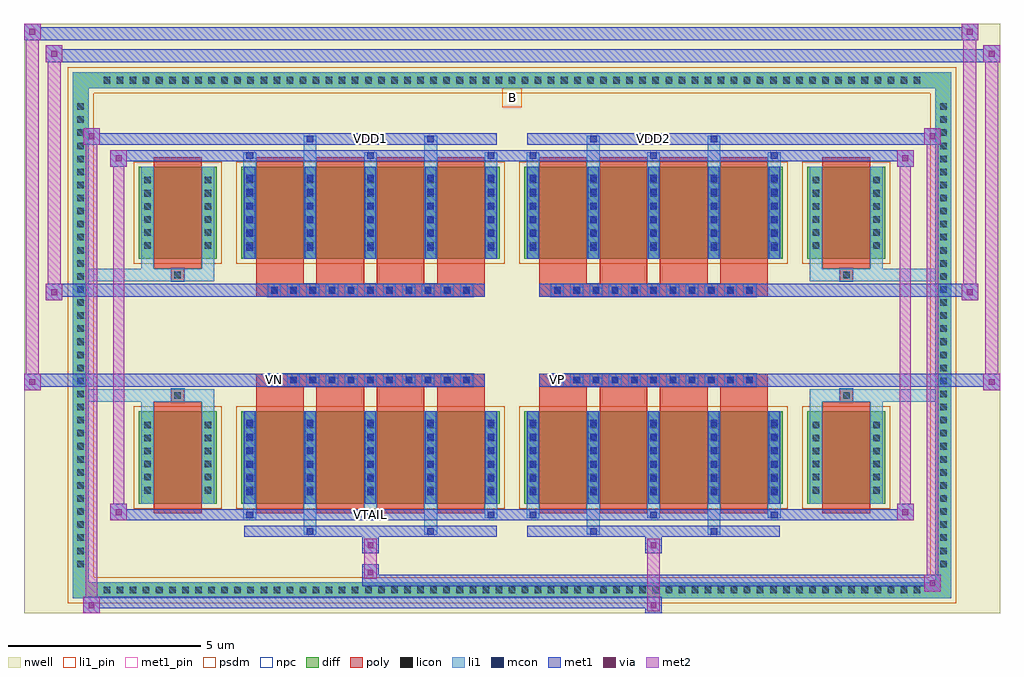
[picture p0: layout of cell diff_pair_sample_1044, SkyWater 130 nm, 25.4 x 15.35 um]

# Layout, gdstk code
import gdstk
lib = gdstk.Library(unit=1e-6, precision=5e-09)
def R(c, l, rs):  # rectangles x0, y0, x1, y1
    for r in rs: c.add(gdstk.rectangle(r[:2], r[2:], *l))
def A(c, l, x, y, w, h, nx, ny, dx, dy):  # array of equal rectangles
    R(c, l, [(x+i*dx, y+j*dy, x+i*dx+w, y+j*dy+h) for i in range(nx) for j in range(ny)])
def P(c, l, *ps):  # polygons
    for p in ps: c.add(gdstk.Polygon(p, *l))
nwell = (64, 20)
diff = (65, 20)
poly = (66, 20)
licon = (66, 44)
li1_pin = (67, 16)
li1 = (67, 20)
mcon = (67, 44)
met1_pin = (68, 16)
met1 = (68, 20)
via = (68, 44)
met2 = (69, 20)
psdm = (94, 20)
npc = (95, 20)

diff_pair_sample_1044 = lib.new_cell('diff_pair_sample_1044')
R(diff_pair_sample_1044, nwell, [(-12.7,-7.24,12.7,8.11), (-10.02,-5.43,-0.01,-0.805), (0.01,-5.43,10.02,-0.805), (-10.02,0.805,-0.01,5.43), (0.01,0.805,10.02,5.43)])
A(diff_pair_sample_1044, diff, -10.745, -6.84, 0.41, 0.41, 63, 2, 0.34, 13.27)
A(diff_pair_sample_1044, diff, -11.43, -6.155, 0.41, 0.41, 1, 36, 0, 0.34)
A(diff_pair_sample_1044, diff, 11.02, -6.155, 0.41, 0.41, 1, 36, 0, 0.34)
R(diff_pair_sample_1044, diff, [(-10.745,-6.84,10.745,-6.43), (-11.43,-6.155,-11.02,6.155), (11.02,-6.155,11.43,6.155), (-9.71,-4.385,-7.69,-1.985), (-7.05,-4.385,-0.32,-1.985), (0.32,-4.385,7.05,-1.985), (7.69,-4.385,9.71,-1.985), (-9.71,1.985,-7.69,4.385), (-7.05,1.985,-0.32,4.385), (0.32,1.985,7.05,4.385), (7.69,1.985,9.71,4.385), (-10.745,6.43,10.745,6.84)])
P(diff_pair_sample_1044, diff, [(11.43,6.84),(-11.43,6.84),(-11.43,-6.43),(-11.02,-6.43),(-11.02,6.43),(11.02,6.43),(11.02,-6.43),(-11.02,-6.43),(-11.43,-6.43),(-11.43,-6.84),(11.43,-6.84)])
A(diff_pair_sample_1044, poly, -6.66, -4.635, 1.24, 2.9, 4, 2, 1.57, 6.37)
A(diff_pair_sample_1044, poly, 0.71, -4.635, 1.24, 2.9, 4, 2, 1.57, 6.37)
A(diff_pair_sample_1044, poly, -6.66, -1.735, 1.24, 0.4, 4, 2, 1.57, 3.07)
A(diff_pair_sample_1044, poly, 0.71, -1.735, 1.24, 0.4, 4, 2, 1.57, 3.07)
A(diff_pair_sample_1044, poly, -6.35, -1.335, 0.33, 0.33, 11, 2, 0.5, 2.34)
A(diff_pair_sample_1044, poly, 1.02, -1.335, 0.33, 0.33, 11, 2, 0.5, 2.34)
R(diff_pair_sample_1044, poly, [(-9.32,-4.635,-8.08,-1.735), (8.08,-4.635,9.32,-1.735), (-8.865,-1.735,-8.535,-1.405), (-8.865,-1.735,-8.535,-1.405), (8.535,-1.735,8.865,-1.405), (8.535,-1.735,8.865,-1.405), (-6.66,-1.335,-0.71,-1.005), (0.71,-1.335,6.66,-1.005), (-6.66,1.005,-0.71,1.335), (0.71,1.005,6.66,1.335), (-8.865,1.405,-8.535,1.735), (-8.865,1.405,-8.535,1.735), (8.535,1.405,8.865,1.735), (8.535,1.405,8.865,1.735), (-9.32,1.735,-8.08,4.635), (8.08,1.735,9.32,4.635)])
A(diff_pair_sample_1044, licon, -10.625, -6.72, 0.17, 0.17, 63, 2, 0.34, 13.27)
A(diff_pair_sample_1044, licon, -11.31, -6.035, 0.17, 0.17, 1, 36, 0, 0.34)
A(diff_pair_sample_1044, licon, 11.14, -6.035, 0.17, 0.17, 1, 36, 0, 0.34)
A(diff_pair_sample_1044, licon, -9.57, -4.12, 0.17, 0.17, 1, 6, 0, 0.34)
A(diff_pair_sample_1044, licon, -8, -4.12, 0.17, 0.17, 1, 6, 0, 0.34)
A(diff_pair_sample_1044, licon, -6.91, -4.12, 0.17, 0.17, 5, 6, 1.57, 0.34)
A(diff_pair_sample_1044, licon, 0.46, -4.12, 0.17, 0.17, 5, 6, 1.57, 0.34)
A(diff_pair_sample_1044, licon, 7.83, -4.12, 0.17, 0.17, 1, 6, 0, 0.34)
A(diff_pair_sample_1044, licon, 9.4, -4.12, 0.17, 0.17, 1, 6, 0, 0.34)
A(diff_pair_sample_1044, licon, -6.27, -1.255, 0.17, 0.17, 11, 2, 0.5, 2.34)
A(diff_pair_sample_1044, licon, 1.1, -1.255, 0.17, 0.17, 11, 2, 0.5, 2.34)
A(diff_pair_sample_1044, licon, -9.57, 2.25, 0.17, 0.17, 1, 6, 0, 0.34)
A(diff_pair_sample_1044, licon, -8, 2.25, 0.17, 0.17, 1, 6, 0, 0.34)
A(diff_pair_sample_1044, licon, -6.91, 2.25, 0.17, 0.17, 5, 6, 1.57, 0.34)
A(diff_pair_sample_1044, licon, 0.46, 2.25, 0.17, 0.17, 5, 6, 1.57, 0.34)
A(diff_pair_sample_1044, licon, 7.83, 2.25, 0.17, 0.17, 1, 6, 0, 0.34)
A(diff_pair_sample_1044, licon, 9.4, 2.25, 0.17, 0.17, 1, 6, 0, 0.34)
R(diff_pair_sample_1044, licon, [(-8.785,-1.655,-8.615,-1.485), (8.615,-1.655,8.785,-1.485), (-8.785,1.485,-8.615,1.655), (8.615,1.485,8.785,1.655)])
R(diff_pair_sample_1044, li1_pin, [(-0.25,5.93,0.25,6.43)])
A(diff_pair_sample_1044, li1, -10.705, -6.8, 0.33, 0.33, 63, 2, 0.34, 13.27)
A(diff_pair_sample_1044, li1, -11.39, -6.115, 0.33, 0.33, 1, 36, 0, 0.34)
A(diff_pair_sample_1044, li1, 11.06, -6.115, 0.33, 0.33, 1, 36, 0, 0.34)
A(diff_pair_sample_1044, li1, -6.99, -4.76, 0.33, 0.375, 3, 2, 3.14, 9.145)
A(diff_pair_sample_1044, li1, -6.91, -4.76, 0.17, 0.17, 3, 2, 3.14, 9.35)
A(diff_pair_sample_1044, li1, 0.38, -4.76, 0.33, 0.375, 3, 2, 3.14, 9.145)
A(diff_pair_sample_1044, li1, 0.46, -4.76, 0.17, 0.17, 3, 2, 3.14, 9.35)
A(diff_pair_sample_1044, li1, -6.99, -4.385, 0.33, 2.4, 5, 2, 1.57, 6.37)
A(diff_pair_sample_1044, li1, 0.38, -4.385, 0.33, 2.4, 5, 2, 1.57, 6.37)
A(diff_pair_sample_1044, li1, -9.65, -4.2, 0.33, 0.33, 1, 6, 0, 0.34)
A(diff_pair_sample_1044, li1, -8.08, -4.2, 0.33, 0.33, 1, 6, 0, 0.34)
A(diff_pair_sample_1044, li1, -6.99, -4.2, 0.33, 0.33, 5, 6, 1.57, 0.34)
A(diff_pair_sample_1044, li1, 0.38, -4.2, 0.33, 0.33, 5, 6, 1.57, 0.34)
A(diff_pair_sample_1044, li1, 7.75, -4.2, 0.33, 0.33, 1, 6, 0, 0.34)
A(diff_pair_sample_1044, li1, 9.32, -4.2, 0.33, 0.33, 1, 6, 0, 0.34)
A(diff_pair_sample_1044, li1, -6.91, -4.17, 0.17, 0.17, 5, 6, 1.57, 0.36)
A(diff_pair_sample_1044, li1, -6.91, -4.17, 0.17, 1.97, 5, 2, 1.57, 6.37)
A(diff_pair_sample_1044, li1, 0.46, -4.17, 0.17, 0.17, 5, 6, 1.57, 0.36)
A(diff_pair_sample_1044, li1, 0.46, -4.17, 0.17, 1.97, 5, 2, 1.57, 6.37)
A(diff_pair_sample_1044, li1, -6.35, -1.335, 0.33, 0.33, 11, 2, 0.5, 2.34)
A(diff_pair_sample_1044, li1, 1.02, -1.335, 0.33, 0.33, 11, 2, 0.5, 2.34)
A(diff_pair_sample_1044, li1, -9.65, 2.17, 0.33, 0.33, 1, 6, 0, 0.34)
A(diff_pair_sample_1044, li1, -8.08, 2.17, 0.33, 0.33, 1, 6, 0, 0.34)
A(diff_pair_sample_1044, li1, -6.99, 2.17, 0.33, 0.33, 5, 6, 1.57, 0.34)
A(diff_pair_sample_1044, li1, 0.38, 2.17, 0.33, 0.33, 5, 6, 1.57, 0.34)
A(diff_pair_sample_1044, li1, 7.75, 2.17, 0.33, 0.33, 1, 6, 0, 0.34)
A(diff_pair_sample_1044, li1, 9.32, 2.17, 0.33, 0.33, 1, 6, 0, 0.34)
A(diff_pair_sample_1044, li1, -6.91, 2.2, 0.17, 0.17, 5, 6, 1.57, 0.36)
A(diff_pair_sample_1044, li1, 0.46, 2.2, 0.17, 0.17, 5, 6, 1.57, 0.36)
R(diff_pair_sample_1044, li1, [(-11.43,-6.84,-11.02,-6.43), (-11.43,-6.84,-11.02,-6.43), (-11.02,-6.84,11.02,-6.43), (11.02,-6.84,11.43,-6.43), (11.02,-6.84,11.43,-6.43), (-11.43,-6.43,-11.02,6.43), (11.02,-6.43,11.43,6.43), (-5.42,-5.19,-5.09,-4.385), (-5.34,-5.19,-5.17,-5.02), (-2.28,-5.19,-1.95,-4.385), (-2.2,-5.19,-2.03,-5.02), (1.95,-5.19,2.28,-4.385), (2.03,-5.19,2.2,-5.02), (5.09,-5.19,5.42,-4.385), (5.17,-5.19,5.34,-5.02), (-9.65,-4.385,-9.32,-1.985), (-8.08,-4.385,-7.75,-1.985), (7.75,-4.385,8.08,-1.985), (9.32,-4.385,9.65,-1.985), (-9.65,-1.985,-9.32,-1.405), (-8.08,-1.985,-7.75,-1.405), (7.75,-1.985,8.08,-1.405), (9.32,-1.985,9.65,-1.405), (-11.43,-1.735,-8.865,-1.405), (-9.65,-1.735,-8.865,-1.405), (-8.865,-1.735,-8.535,-1.405), (-8.535,-1.735,-7.75,-1.405), (7.75,-1.735,8.535,-1.405), (8.535,-1.735,8.865,-1.405), (8.535,-1.735,11.43,-1.405), (8.865,-1.735,9.65,-1.405), (-11.43,1.405,-8.865,1.735), (-9.65,1.405,-8.865,1.735), (-9.65,1.405,-9.32,1.985), (-8.865,1.405,-8.535,1.735), (-8.535,1.405,-7.75,1.735), (-8.08,1.405,-7.75,1.985), (7.75,1.405,8.535,1.735), (7.75,1.405,8.08,1.985), (8.535,1.405,8.865,1.735), (8.535,1.405,11.43,1.735), (8.865,1.405,9.65,1.735), (9.32,1.405,9.65,1.985), (-9.65,1.985,-9.32,4.385), (-8.08,1.985,-7.75,4.385), (7.75,1.985,8.08,4.385), (9.32,1.985,9.65,4.385), (-5.42,4.385,-5.09,5.19), (-2.28,4.385,-1.95,5.19), (1.95,4.385,2.28,5.19), (5.09,4.385,5.42,5.19), (-5.34,5.02,-5.17,5.19), (-2.2,5.02,-2.03,5.19), (2.03,5.02,2.2,5.19), (5.17,5.02,5.34,5.19), (-11.43,6.43,-11.02,6.84), (-11.43,6.43,-11.02,6.84), (-11.02,6.43,11.02,6.84), (11.02,6.43,11.43,6.84), (11.02,6.43,11.43,6.84)])
A(diff_pair_sample_1044, mcon, -6.91, -4.76, 0.17, 0.17, 3, 2, 3.14, 9.35)
A(diff_pair_sample_1044, mcon, 0.46, -4.76, 0.17, 0.17, 3, 2, 3.14, 9.35)
A(diff_pair_sample_1044, mcon, -6.91, -4.17, 0.17, 0.17, 5, 6, 1.57, 0.36)
A(diff_pair_sample_1044, mcon, 0.46, -4.17, 0.17, 0.17, 5, 6, 1.57, 0.36)
A(diff_pair_sample_1044, mcon, -6.27, -1.255, 0.17, 0.17, 11, 2, 0.5, 2.34)
A(diff_pair_sample_1044, mcon, 1.1, -1.255, 0.17, 0.17, 11, 2, 0.5, 2.34)
A(diff_pair_sample_1044, mcon, -6.91, 2.2, 0.17, 0.17, 5, 6, 1.57, 0.36)
A(diff_pair_sample_1044, mcon, 0.46, 2.2, 0.17, 0.17, 5, 6, 1.57, 0.36)
R(diff_pair_sample_1044, mcon, [(-5.34,-5.19,-5.17,-5.02), (-2.2,-5.19,-2.03,-5.02), (2.03,-5.19,2.2,-5.02), (5.17,-5.19,5.34,-5.02), (-5.34,5.02,-5.17,5.19), (-2.2,5.02,-2.03,5.19), (2.03,5.02,2.2,5.19), (5.17,5.02,5.34,5.19)])
R(diff_pair_sample_1044, met1_pin, [(-3.82,-4.8,-3.55,-4.53), (-6.32,-1.295,-6.05,-1.025), (1.05,-1.295,1.32,-1.025), (-3.82,4.98,-3.55,5.25), (3.55,4.98,3.82,5.25)])
A(diff_pair_sample_1044, met1, -6.97, -4.82, 0.29, 0.29, 3, 2, 3.14, 9.35)
A(diff_pair_sample_1044, met1, 0.4, -4.82, 0.29, 0.29, 3, 2, 3.14, 9.35)
A(diff_pair_sample_1044, met1, -6.97, -4.385, 0.29, 2.4, 5, 2, 1.57, 6.37)
A(diff_pair_sample_1044, met1, 0.4, -4.385, 0.29, 2.4, 5, 2, 1.57, 6.37)
A(diff_pair_sample_1044, met1, -6.97, -4.23, 0.29, 0.29, 5, 6, 1.57, 0.36)
A(diff_pair_sample_1044, met1, 0.4, -4.23, 0.29, 0.29, 5, 6, 1.57, 0.36)
A(diff_pair_sample_1044, met1, -6.33, -1.315, 0.29, 0.29, 11, 2, 0.5, 2.34)
A(diff_pair_sample_1044, met1, 1.04, -1.315, 0.29, 0.29, 11, 2, 0.5, 2.34)
A(diff_pair_sample_1044, met1, -6.97, 2.14, 0.29, 0.29, 5, 6, 1.57, 0.36)
A(diff_pair_sample_1044, met1, 0.4, 2.14, 0.29, 0.29, 5, 6, 1.57, 0.36)
R(diff_pair_sample_1044, met1, [(-11.16,-7.24,-10.73,-6.81), (3.47,-7.24,3.9,-6.81), (-11.16,-7.1,3.9,-6.81), (10.73,-6.67,11.16,-6.24), (-3.9,-6.53,11.16,-6.24), (-3.9,-6.39,-3.47,-5.96), (-3.9,-5.68,-3.47,-5.25), (3.47,-5.68,3.9,-5.25), (-6.97,-5.25,-0.4,-4.96), (-5.4,-5.25,-5.11,-4.96), (-2.26,-5.25,-1.97,-4.96), (0.4,-5.25,6.97,-4.96), (1.97,-5.25,2.26,-4.96), (5.11,-5.25,5.4,-4.96), (-10.45,-4.82,-10.02,-4.39), (-10.45,-4.82,-6.97,-4.53), (-6.97,-4.82,-0.4,-4.53), (-0.4,-4.82,0.4,-4.53), (0.4,-4.82,6.97,-4.53), (6.97,-4.82,10.45,-4.53), (10.02,-4.82,10.45,-4.39), (-12.7,-1.435,-12.27,-1.005), (12.27,-1.435,12.7,-1.005), (-12.7,-1.335,-0.71,-1.005), (-6.66,-1.335,-0.71,-1.005), (0.71,-1.335,6.66,-1.005), (0.71,-1.335,12.7,-1.005), (-12.13,0.905,-11.7,1.335), (11.7,0.905,12.13,1.335), (-12.13,1.005,-6.66,1.335), (-6.66,1.005,-0.71,1.335), (0.71,1.005,6.66,1.335), (6.66,1.005,12.13,1.335), (-10.45,4.39,-10.02,4.82), (10.02,4.39,10.45,4.82), (-10.45,4.53,-6.97,4.82), (-6.97,4.53,-0.4,4.82), (-0.4,4.53,0.4,4.82), (0.4,4.53,6.97,4.82), (6.97,4.53,10.45,4.82), (-11.16,4.96,-10.73,5.39), (-11.16,4.96,-6.97,5.25), (-6.97,4.96,-0.4,5.25), (-5.4,4.96,-5.11,5.25), (-2.26,4.96,-1.97,5.25), (0.4,4.96,6.97,5.25), (1.97,4.96,2.26,5.25), (5.11,4.96,5.4,5.25), (6.97,4.96,11.16,5.25), (10.73,4.96,11.16,5.39), (-12.13,7.11,-11.7,7.54), (-12.13,7.11,-10.02,7.44), (-10.02,7.11,10.02,7.44), (10.02,7.11,12.7,7.44), (12.27,7.11,12.7,7.54), (-12.7,7.68,-12.27,8.11), (-12.7,7.68,-10.02,8.01), (-10.02,7.68,10.02,8.01), (10.02,7.68,12.13,8.01), (11.7,7.68,12.13,8.11)])
R(diff_pair_sample_1044, via, [(-11.02,-7.1,-10.87,-6.95), (3.61,-7.1,3.76,-6.95), (10.87,-6.53,11.02,-6.38), (-3.76,-6.25,-3.61,-6.1), (-3.76,-5.54,-3.61,-5.39), (3.61,-5.54,3.76,-5.39), (-10.31,-4.68,-10.16,-4.53), (10.16,-4.68,10.31,-4.53), (-12.56,-1.295,-12.41,-1.145), (12.41,-1.295,12.56,-1.145), (-11.99,1.045,-11.84,1.195), (11.84,1.045,11.99,1.195), (-10.31,4.53,-10.16,4.68), (10.16,4.53,10.31,4.68), (-11.02,5.1,-10.87,5.25), (10.87,5.1,11.02,5.25), (-11.99,7.25,-11.84,7.4), (12.41,7.25,12.56,7.4), (-12.56,7.82,-12.41,7.97), (11.84,7.82,11.99,7.97)])
R(diff_pair_sample_1044, met2, [(-11.16,-7.24,-10.73,-6.81), (-11.09,-7.24,-10.8,5.39), (-10.8,-7.24,-10.73,-6.81), (-11.11,-7.19,-10.78,-6.86), (3.52,-7.19,3.85,-6.86), (3.52,-6.86,3.85,-5.63), (10.73,-6.67,11.16,-6.24), (10.8,-6.67,11.09,5.39), (11.09,-6.67,11.16,-6.24), (10.78,-6.62,11.11,-6.29), (-3.85,-6.34,-3.52,-6.01), (-3.85,-6.01,-3.52,-5.63), (-3.85,-5.63,-3.52,-5.3), (3.52,-5.63,3.85,-5.3), (-10.45,-4.82,-10.02,-4.39), (-10.38,-4.82,-10.09,4.82), (-10.09,-4.82,-10.02,-4.39), (10.02,-4.82,10.45,-4.39), (10.09,-4.82,10.38,4.82), (10.38,-4.82,10.45,-4.39), (-10.4,-4.77,-10.07,-4.44), (10.07,-4.77,10.4,-4.44), (-12.7,-1.435,-12.27,-1.005), (-12.65,-1.435,-12.32,8.11), (-12.32,-1.435,-12.27,-1.005), (12.27,-1.435,12.7,-1.005), (12.32,-1.435,12.65,7.54), (12.65,-1.435,12.7,-1.005), (-12.65,-1.385,-12.32,-1.055), (12.32,-1.385,12.65,-1.055), (-12.13,0.905,-11.7,1.335), (-12.08,0.905,-11.75,7.54), (-11.75,0.905,-11.7,1.335), (11.7,0.905,12.13,1.335), (11.75,0.905,12.08,8.11), (12.08,0.905,12.13,1.335), (-12.08,0.955,-11.75,1.285), (11.75,0.955,12.08,1.285), (-10.45,4.39,-10.02,4.82), (-10.09,4.39,-10.02,4.82), (10.02,4.39,10.45,4.82), (10.38,4.39,10.45,4.82), (-10.4,4.44,-10.07,4.77), (10.07,4.44,10.4,4.77), (-11.16,4.96,-10.73,5.39), (-10.8,4.96,-10.73,5.39), (10.73,4.96,11.16,5.39), (11.09,4.96,11.16,5.39), (-11.11,5.01,-10.78,5.34), (10.78,5.01,11.11,5.34), (-12.13,7.11,-11.7,7.54), (-11.75,7.11,-11.7,7.54), (12.27,7.11,12.7,7.54), (12.65,7.11,12.7,7.54), (-12.08,7.16,-11.75,7.49), (12.32,7.16,12.65,7.49), (-12.7,7.68,-12.27,8.11), (-12.32,7.68,-12.27,8.11), (11.7,7.68,12.13,8.11), (12.08,7.68,12.13,8.11), (-12.65,7.73,-12.32,8.06), (11.75,7.73,12.08,8.06)])
R(diff_pair_sample_1044, psdm, [(-9.84,-4.515,-7.56,-1.855), (-7.18,-4.515,-0.19,-1.855), (0.19,-4.515,7.18,-1.855), (7.56,-4.515,9.84,-1.855), (-9.84,1.855,-7.56,4.515), (-7.18,1.855,-0.19,4.515), (0.19,1.855,7.18,4.515), (7.56,1.855,9.84,4.515)])
P(diff_pair_sample_1044, psdm, [(11.56,6.97),(-11.56,6.97),(-11.56,-6.3),(-10.89,-6.3),(-10.89,6.3),(10.89,6.3),(10.89,-6.3),(-10.89,-6.3),(-11.56,-6.3),(-11.56,-6.97),(11.56,-6.97)])
A(diff_pair_sample_1044, npc, -6.37, -1.355, 0.37, 0.37, 11, 2, 0.5, 2.34)
A(diff_pair_sample_1044, npc, 1, -1.355, 0.37, 0.37, 11, 2, 0.5, 2.34)
R(diff_pair_sample_1044, npc, [(-8.885,-1.755,-8.515,-1.385), (8.515,-1.755,8.885,-1.385), (-6.37,-1.355,-5.5,-0.985), (-6.37,-1.355,-5.5,-0.985), (-5.87,-1.355,-5,-0.985), (-5.87,-1.355,-5,-0.985), (-5.37,-1.355,-4.5,-0.985), (-5.37,-1.355,-4.5,-0.985), (-4.87,-1.355,-4,-0.985), (-4.87,-1.355,-4,-0.985), (-4.37,-1.355,-3.5,-0.985), (-4.37,-1.355,-3.5,-0.985), (-3.87,-1.355,-3,-0.985), (-3.87,-1.355,-3,-0.985), (-3.37,-1.355,-2.5,-0.985), (-3.37,-1.355,-2.5,-0.985), (-2.87,-1.355,-2,-0.985), (-2.87,-1.355,-2,-0.985), (-2.37,-1.355,-1.5,-0.985), (-2.37,-1.355,-1.5,-0.985), (-1.87,-1.355,-1,-0.985), (-1.87,-1.355,-1,-0.985), (1,-1.355,1.87,-0.985), (1,-1.355,1.87,-0.985), (1.5,-1.355,2.37,-0.985), (1.5,-1.355,2.37,-0.985), (2,-1.355,2.87,-0.985), (2,-1.355,2.87,-0.985), (2.5,-1.355,3.37,-0.985), (2.5,-1.355,3.37,-0.985), (3,-1.355,3.87,-0.985), (3,-1.355,3.87,-0.985), (3.5,-1.355,4.37,-0.985), (3.5,-1.355,4.37,-0.985), (4,-1.355,4.87,-0.985), (4,-1.355,4.87,-0.985), (4.5,-1.355,5.37,-0.985), (4.5,-1.355,5.37,-0.985), (5,-1.355,5.87,-0.985), (5,-1.355,5.87,-0.985), (5.5,-1.355,6.37,-0.985), (5.5,-1.355,6.37,-0.985), (-6.37,0.985,-5.5,1.355), (-6.37,0.985,-5.5,1.355), (-5.87,0.985,-5,1.355), (-5.87,0.985,-5,1.355), (-5.37,0.985,-4.5,1.355), (-5.37,0.985,-4.5,1.355), (-4.87,0.985,-4,1.355), (-4.87,0.985,-4,1.355), (-4.37,0.985,-3.5,1.355), (-4.37,0.985,-3.5,1.355), (-3.87,0.985,-3,1.355), (-3.87,0.985,-3,1.355), (-3.37,0.985,-2.5,1.355), (-3.37,0.985,-2.5,1.355), (-2.87,0.985,-2,1.355), (-2.87,0.985,-2,1.355), (-2.37,0.985,-1.5,1.355), (-2.37,0.985,-1.5,1.355), (-1.87,0.985,-1,1.355), (-1.87,0.985,-1,1.355), (1,0.985,1.87,1.355), (1,0.985,1.87,1.355), (1.5,0.985,2.37,1.355), (1.5,0.985,2.37,1.355), (2,0.985,2.87,1.355), (2,0.985,2.87,1.355), (2.5,0.985,3.37,1.355), (2.5,0.985,3.37,1.355), (3,0.985,3.87,1.355), (3,0.985,3.87,1.355), (3.5,0.985,4.37,1.355), (3.5,0.985,4.37,1.355), (4,0.985,4.87,1.355), (4,0.985,4.87,1.355), (4.5,0.985,5.37,1.355), (4.5,0.985,5.37,1.355), (5,0.985,5.87,1.355), (5,0.985,5.87,1.355), (5.5,0.985,6.37,1.355), (5.5,0.985,6.37,1.355), (-8.885,1.385,-8.515,1.755), (8.515,1.385,8.885,1.755)])
diff_pair_sample_1044.add(gdstk.Label('VTAIL', (-3.685,-4.665), layer=68, texttype=5))
diff_pair_sample_1044.add(gdstk.Label('VN', (-6.185,-1.16), layer=68, texttype=5))
diff_pair_sample_1044.add(gdstk.Label('VP', (1.185,-1.16), layer=68, texttype=5))
diff_pair_sample_1044.add(gdstk.Label('B', (0,6.18), layer=67, texttype=5))
diff_pair_sample_1044.add(gdstk.Label('VDD2', (3.685,5.115), layer=68, texttype=5))
diff_pair_sample_1044.add(gdstk.Label('VDD1', (-3.685,5.115), layer=68, texttype=5))

lib.write_gds('diff_pair_sample_1044.gds')
